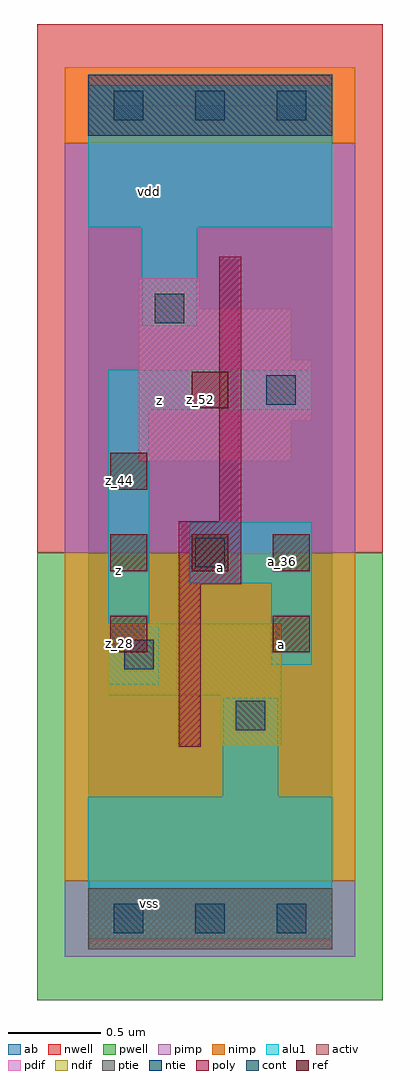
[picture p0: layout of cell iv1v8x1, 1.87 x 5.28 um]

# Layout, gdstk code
import gdstk
lib = gdstk.Library(unit=1e-6, precision=2.5e-09)
def R(c, l, rs):  # rectangles x0, y0, x1, y1
    for r in rs: c.add(gdstk.rectangle(r[:2], r[2:], *l))
def A(c, l, x, y, w, h, nx, ny, dx, dy):  # array of equal rectangles
    R(c, l, [(x+i*dx, y+j*dy, x+i*dx+w, y+j*dy+h) for i in range(nx) for j in range(ny)])
ndif = (3, 0)
pdif = (4, 0)
ntie = (5, 0)
ptie = (6, 0)
ref = (24, 0)
cont = (25, 0)
pwell = (41, 0)
nwell = (42, 0)
activ = (43, 0)
pimp = (44, 0)
nimp = (45, 0)
poly = (46, 0)
alu1 = (49, 0)
ab = (63, 0)

iv1v8x1 = lib.new_cell('iv1v8x1')
R(iv1v8x1, ndif, [(0.715,0.935,1.045,1.21), (0.11,1.21,1.045,1.595)])
R(iv1v8x1, pdif, [(0.275,2.475,1.1,2.695), (0.275,2.695,1.21,3.025), (0.275,3.025,1.1,3.3), (0.275,3.3,0.605,3.465)])
R(iv1v8x1, ntie, [(0,4.235,1.32,4.565)])
R(iv1v8x1, ptie, [(0,-0.165,1.32,0.165)])
A(iv1v8x1, ref, 0.12, 1.88, 0.2, 0.2, 3, 1, 0.44, 0)
R(iv1v8x1, ref, [(0.12,1.44,0.32,1.64), (1,1.44,1.2,1.64), (0.12,2.32,0.32,2.52), (0.56,2.76,0.76,2.96)])
A(iv1v8x1, cont, 0.14, -0.08, 0.16, 0.16, 3, 2, 0.44, 4.4)
R(iv1v8x1, cont, [(0.8,1.02,0.96,1.18), (0.195,1.35,0.355,1.51), (0.58,1.9,0.74,2.06), (0.965,2.78,1.125,2.94), (0.36,3.22,0.52,3.38)])
R(iv1v8x1, pwell, [(-0.275,-0.44,1.595,1.98)])
R(iv1v8x1, nwell, [(-0.275,1.98,1.595,4.84)])
R(iv1v8x1, activ, [(0,-0.165,1.32,0.165), (0.715,0.935,1.045,1.21), (0.11,1.21,1.045,1.595), (0.275,2.475,1.1,2.695), (0.275,2.695,1.21,3.025), (0.275,3.025,1.1,3.3), (0.275,3.3,0.605,3.465), (0,4.235,1.32,4.565)])
R(iv1v8x1, pimp, [(-0.125,-0.205,1.445,0.205), (-0.125,1.98,1.445,4.195)])
R(iv1v8x1, nimp, [(-0.125,0.205,1.445,1.98), (-0.125,4.195,1.445,4.605)])
R(iv1v8x1, poly, [(0.49,0.93,0.61,1.81), (0.49,1.81,0.83,2.15), (0.71,2.15,0.83,3.58)])
R(iv1v8x1, alu1, [(0,-0.11,1.32,0.66), (0.73,0.66,1.03,1.195), (0.11,1.265,0.385,1.595), (0.99,1.375,1.21,1.815), (0.11,1.595,0.33,2.75), (0.55,1.815,1.21,2.145), (0.11,2.75,1.21,2.97), (0.29,3.205,0.59,3.74), (0,3.74,1.32,4.51)])
R(iv1v8x1, ab, [(0,0,1.32,4.4)])
iv1v8x1.add(gdstk.Label('vss', (0.33,0.0825), layer=49, texttype=0))
iv1v8x1.add(gdstk.Label('a', (1.045,1.485), layer=49, texttype=0))
iv1v8x1.add(gdstk.Label('a', (0.715,1.8975), layer=49, texttype=0))
iv1v8x1.add(gdstk.Label('z', (0.165,1.8825), layer=49, texttype=0))
iv1v8x1.add(gdstk.Label('z', (0.385,2.805), layer=49, texttype=0))
iv1v8x1.add(gdstk.Label('vdd', (0.33,3.9325), layer=49, texttype=0))
iv1v8x1.add(gdstk.Label('a_36', (0.61,1.93), layer=24, texttype=0))
iv1v8x1.add(gdstk.Label('z_52', (0.61,2.81), layer=24, texttype=0))
iv1v8x1.add(gdstk.Label('a_28', (1.05,1.49), layer=24, texttype=0))
iv1v8x1.add(gdstk.Label('a_36', (1.05,1.93), layer=24, texttype=0))
iv1v8x1.add(gdstk.Label('z_28', (0.17,1.49), layer=24, texttype=0))
iv1v8x1.add(gdstk.Label('z_36', (0.17,1.93), layer=24, texttype=0))
iv1v8x1.add(gdstk.Label('z_44', (0.17,2.37), layer=24, texttype=0))

lib.write_gds('iv1v8x1.gds')
